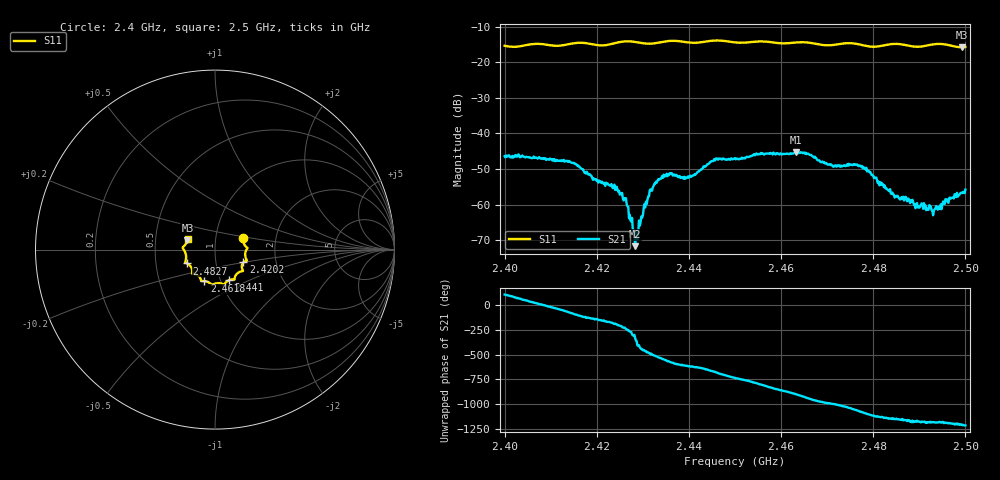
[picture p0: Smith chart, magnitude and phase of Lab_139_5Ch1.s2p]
# Hz S RI R 50
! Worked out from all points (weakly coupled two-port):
!   601 points, 2.4 GHz to 2.5 GHz, reference 50 ohm
!   highest |S21| = -45.21 dB at 2.4632 GHz (marker M1); lowest = -71.6 dB at 2.4283 GHz (marker M2)
!   lowest |S11| = -15.8 dB at 2.4993 GHz (marker M3), VSWR 1.39, Z = 36.5 + j3.84 ohm
!   |S11| at or under -10 dB: start of sweep to end of sweep
!   S12 and S22 are empty: the file has one direction only
!   S11 on the Smith chart (normalised r, x): 2.4 GHz: 1.36, +0.17; 2.4202 GHz: 1.36, -0.20; 2.441 GHz: 1.10, -0.39; 2.4618 GHz: 0.84, -0.30; 2.4827 GHz: 0.72, -0.11; 2.5 GHz: 0.73, +0.09
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2.4e9  0.1582 0.0623  -0.00173 0.00447  0 0  0 0
2.413667e9  0.1714 -0.0468  0.00169 -0.00365  0 0  0 0
2.416667e9  0.1773 -0.0608  -0.00104 -0.00303  0 0  0 0
2.420167e9  0.1583 -0.0712  -0.00169 -0.00142  0 0  0 0
2.425833e9  0.1559 -0.1173  -0.000805 0.000816  0 0  0 0
2.428333e9  0.1507 -0.1202  0.000229 0.000128  0 0  0 0
2.428833e9  0.147 -0.1208  0.000224 -0.000233  0 0  0 0
2.431167e9  0.1252 -0.132  -0.000583 -0.00117  0 0  0 0
2.433333e9  0.1115 -0.1511  -0.00221 -0.000543  0 0  0 0
2.441e9  0.0784 -0.1698  -0.000351 0.00255  0 0  0 0
2.445667e9  0.0506 -0.1949  0.00295 0.00296  0 0  0 0
2.45e9  0.0281 -0.1875  0.00434 -0.00119  0 0  0 0
2.461833e9  -0.0596 -0.1757  -0.00493 -0.00156  0 0  0 0
2.463167e9  -0.0697 -0.1754  -0.00549 -9.61e-05  0 0  0 0
2.466667e9  -0.0789 -0.1681  -0.00287 0.00396  0 0  0 0
2.4715e9  -0.1095 -0.1366  0.000686 0.00338  0 0  0 0
2.477333e9  -0.1268 -0.1214  0.00342 0.000138  0 0  0 0
2.482667e9  -0.1562 -0.0771  0.000803 -0.0015  0 0  0 0
2.483333e9  -0.1606 -0.0752  0.000553 -0.00147  0 0  0 0
2.493e9  -0.178 0.00513  -0.000189 -0.000686  0 0  0 0
2.499333e9  -0.1539 0.0512  -0.00102 -0.00103  0 0  0 0
2.5e9  -0.152 0.0608  -0.00119 -0.00111  0 0  0 0
